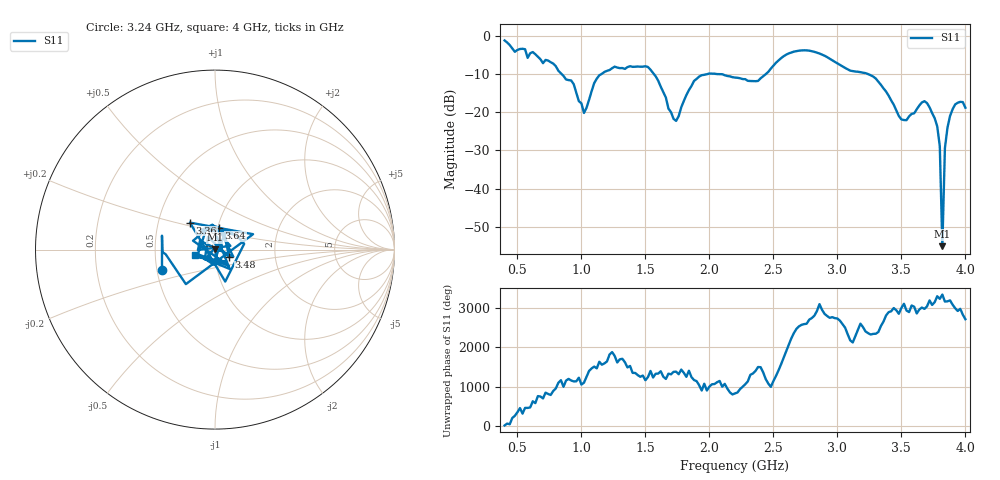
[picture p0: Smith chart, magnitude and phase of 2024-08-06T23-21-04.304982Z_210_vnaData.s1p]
!Created with skrf (http://scikit-rf.org).
# Hz S RI R 50.0
!freq ReS11 ImS11
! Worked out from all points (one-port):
!   181 points, 400 MHz to 4 GHz, reference 50 ohm
!   lowest |S11| = -55.1 dB at 3.82 GHz (marker M1), VSWR 1.00, Z = 50 + j0.175 ohm
!   |S11| at or under -10 dB: 1.566 GHz to 1.985 GHz (418.2 MHz wide, 23.6 % of centre); 2.059 GHz to 2.441 GHz (382.7 MHz wide, 17 % of centre); 3.239 GHz to end of sweep (the widest 3 of 4)
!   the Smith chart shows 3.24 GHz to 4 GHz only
!   S11 on the Smith chart (normalised r, x): 3.24 GHz: 0.53, -0.13; 3.36 GHz: 0.72, +0.23; 3.48 GHz: 1.17, -0.10; 3.64 GHz: 1.01, +0.25; 4 GHz: 0.80, -0.05
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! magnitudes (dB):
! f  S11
! 400 MHz  -1.2
! 860 MHz  -10.5
! 940 MHz  -12.7
! 1.02 GHz  -20.2
! 1.14 GHz  -10.3
! 1.3 GHz  -8.4
! 1.52 GHz  -8.2
! 1.6 GHz  -11.8
! 1.72 GHz  -21.7
! 1.76 GHz  -21.0
! 1.92 GHz  -10.7
! 2.2 GHz  -10.9
! 2.38 GHz  -11.8
! 2.66 GHz  -4.1
! 3.1 GHz  -9.1
! 3.24 GHz  -10.0
! 3.36 GHz  -13.7
! 3.48 GHz  -21.0
! 3.56 GHz  -21.1
! 3.64 GHz  -18.2
! 3.7 GHz  -17.6
! 3.78 GHz  -23.7
! 3.8 GHz  -28.9
! 3.82 GHz  -55.1
! 3.84 GHz  -29.4
! 3.86 GHz  -24.0
! 3.92 GHz  -18.0
! 4 GHz  -18.8
